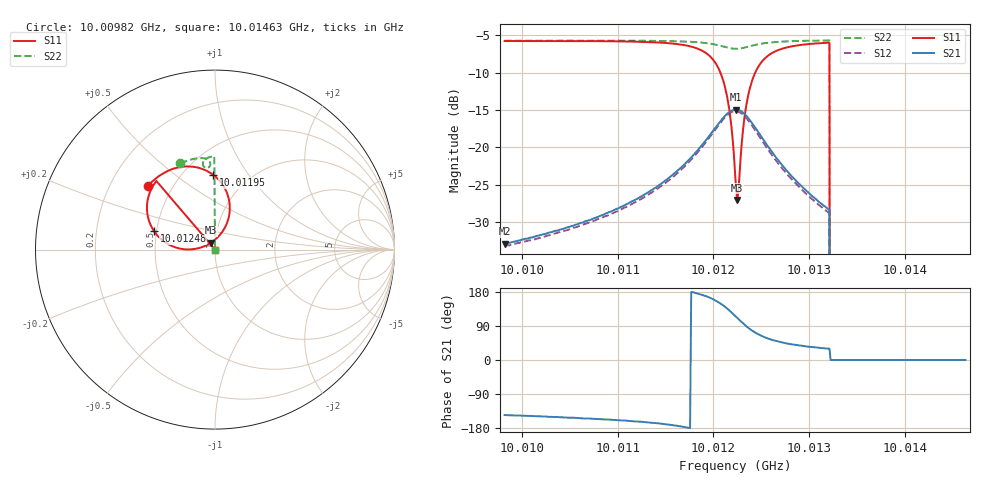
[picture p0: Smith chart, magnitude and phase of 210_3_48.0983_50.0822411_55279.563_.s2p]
#  HZ  S  RI  R  50.00
! Rohde & Schwarz Vector Network Analyzer
! Rohde-Schwarz,ZNB20-2Port,1311601062101988,3.16
! Created: UTC 12/23/2023, 3:55:40 AM
! freq[Hz]  re:S11  im:S11  re:S21  im:S21  re:S12  im:S12  re:S22  im:S22
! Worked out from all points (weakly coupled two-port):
!   401 points, 10.00982 GHz to 10.01463 GHz, reference 50 ohm
!   highest |S21| = -14.94 dB at 10.01224 GHz (marker M1); lowest = -33.0 dB at 10.00982 GHz (marker M2)
!   lowest |S11| = -27.1 dB at 10.01225 GHz (marker M3), VSWR 1.09, Z = 47.6 + j3.61 ohm
!   |S11| at or under -10 dB: 10.01207 GHz to 10.01244 GHz (363 kHz wide, 0.00363 % of centre); 10.01321 GHz to end of sweep
!   |S22| runs from - to -5.7 dB; largest |S21 - S12| = 0.0091
!   S11 on the Smith chart (normalised r, x): 10.00982 GHz: 0.36, +0.35; 10.01195 GHz: 0.69, +0.70; 10.01248 GHz: 0.48, +0.11; 10.01463 GHz: 1.00, +0.00
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1.0009821e10  -0.3756 0.3533  -0.0185 -0.0128  -0.0172 -0.0133  -0.1927 0.4814
1.0010626e10  -0.3202 0.4037  -0.028 -0.0138  -0.0262 -0.0146  -0.1414 0.4994
1.0011431e10  -0.2156 0.4555  -0.0543 -0.0123  -0.0516 -0.0143  -0.083 0.5099
1.001172e10  -0.1313 0.4629  -0.0794 -0.00282  -0.0764 -0.0071  -0.0571 0.5079
1.0011948e10  -0.00898 0.4157  -0.114 0.0284  -0.1119 0.0219  -0.0339 0.4959
1.0012056e10  0.0609 0.3287  -0.1277 0.0685  -0.1281 0.0606  -0.0261 0.4814
1.0012129e10  0.0823 0.2257  -0.124 0.1082  -0.1259 0.0998  -0.0271 0.4683
1.0012177e10  0.0651 0.1435  -0.1079 0.137  -0.1112 0.129  -0.0327 0.4604
1.0012225e10  0.0141 0.0675  -0.0805 0.1598  -0.085 0.1525  -0.0421 0.4556
1.0012237e10  -0.00396 0.0515  -0.072 0.164  -0.0769 0.1567  -0.0446 0.4551
1.0012249e10  -0.023 0.0378  -0.0634 0.167  -0.0681 0.1602  -0.0475 0.455
1.0012261e10  -0.0437 0.0257  -0.0547 0.1692  -0.0591 0.1627  -0.0501 0.4553
1.0012309e10  -0.1314 0.00139  -0.0201 0.1696  -0.0242 0.1636  -0.0596 0.4597
1.0012357e10  -0.214 0.0103  0.0105 0.1583  0.00484 0.1531  -0.0656 0.4672
1.0012405e10  -0.279 0.0414  0.032 0.1409  0.0263 0.1365  -0.0676 0.476
1.0012477e10  -0.3392 0.1023  0.0487 0.1135  0.043 0.1104  -0.066 0.488
1.0012669e10  -0.3792 0.2363  0.054 0.0629  0.0491 0.0618  -0.0501 0.5066
1.001303e10  -0.3467 0.3526  0.0388 0.0266  0.0357 0.027  -0.018 0.5182
1.0013186e10  -0.3294 0.3789  0.0336 0.0196  0.0311 0.0203  -0.00556 0.5202
1.0013246e10  0 0  0 0  0 0  0 0
1.0013835e10  0 0  0 0  0 0  0 0
1.0014629e10  0 0  0 0  0 0  0 0
